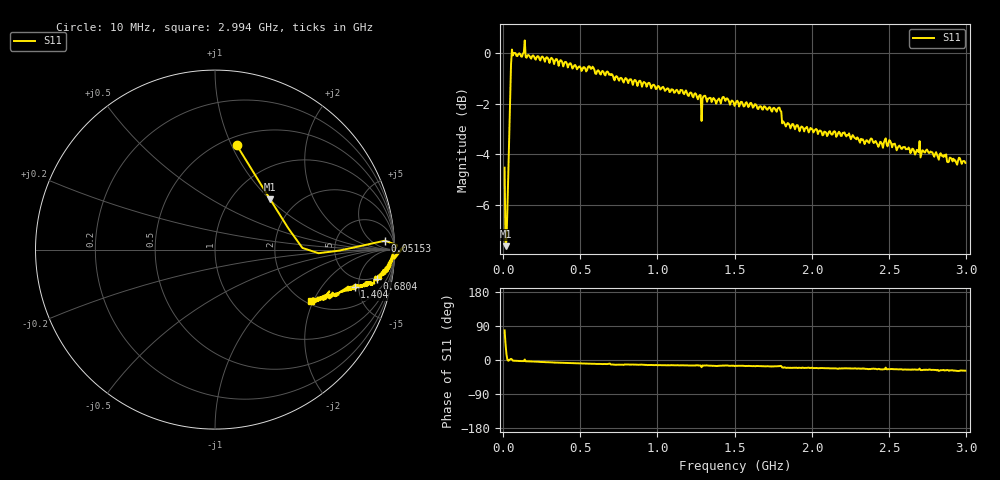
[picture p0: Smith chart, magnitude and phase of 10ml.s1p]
# HZ S RI R 50
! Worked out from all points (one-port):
!   504 points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, 10 MHz to 2.994 GHz, reference 50 ohm
!   lowest |S11| = -7.6 dB at 15.93 MHz (marker M1), VSWR 2.42, Z = 74.2 + j50.1 ohm
!   |S11| at or under -10 dB: nowhere
!   S11 on the Smith chart (normalised r, x): 10 MHz: 0.58, +1.05; 51.53 MHz: 19, +19; 680.4 MHz: 4.34, -8.92; 1.404 GHz: 3.79, -4.50; 2.994 GHz: 2.12, -1.92
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1e7  0.1217 0.581
1.593254e7  0.3076 0.2794
2.779762e7  0.4869 0.00943
3.373016e7  0.5767 -0.0202
4.559524e7  0.8205 0.0219
5.152778e7  0.9466 0.0496
6.339286e7  0.9879 -0.0294
6.93254e7  0.9973 -0.0338
1.108532e8  0.9935 -0.0465
1.345833e8  1.001 -0.0503
1.583135e8  0.9867 -0.0626
3.8375e8  0.9488 -0.125
5.676588e8  0.916 -0.1602
6.80377e8  0.9011 -0.1651
7.575e8  0.8695 -0.1936
1.13125e9  0.8165 -0.1987
1.267698e9  0.7938 -0.2072
1.273631e9  0.7986 -0.2082
1.297361e9  0.7927 -0.2093
1.303294e9  0.7961 -0.2061
1.404147e9  0.7781 -0.2082
1.505e9  0.765 -0.212
1.789762e9  0.7487 -0.217
1.819425e9  0.6863 -0.2453
1.87875e9  0.6762 -0.2568
2.2525e9  0.6254 -0.2552
2.62625e9  0.589 -0.2761
2.994068e9  0.5345 -0.2866
